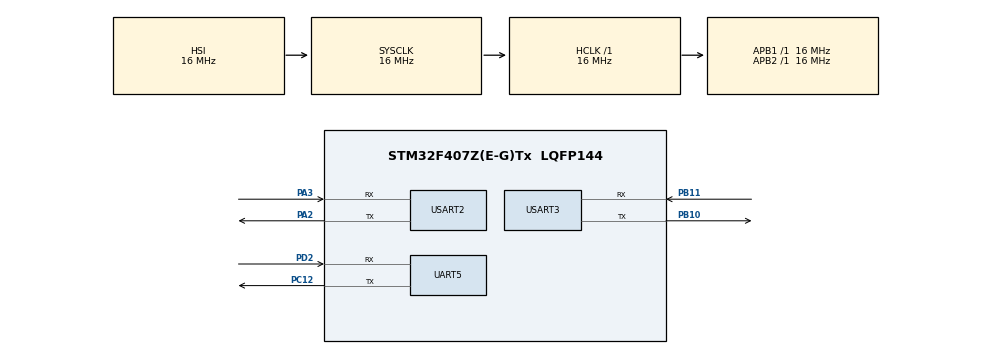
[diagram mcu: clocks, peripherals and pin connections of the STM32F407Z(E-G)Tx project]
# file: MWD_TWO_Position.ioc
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Mcu.Family=STM32F4
Mcu.Name=STM32F407Z(E-G)Tx
Mcu.Package=LQFP144
NVIC.PriorityGroup=NVIC_PRIORITYGROUP_4
NVIC.TIM6_DAC_IRQn=true\:0\:0\:false\:false\:true\:true\:true\:true
NVIC.UART5_IRQn=true\:2\:0\:true\:false\:true\:true\:true\:true
NVIC.USART2_IRQn=true\:0\:0\:true\:false\:true\:true\:true\:true
NVIC.USART3_IRQn=true\:0\:0\:true\:false\:true\:true\:true\:true
PA13.Mode=Serial_Wire
PA13.Signal=SYS_JTMS-SWDIO
PA14.Mode=Serial_Wire
PA14.Signal=SYS_JTCK-SWCLK
PA2.Mode=Asynchronous
PA2.Signal=USART2_TX
PA3.Mode=Asynchronous
PA3.Signal=USART2_RX
PB10.Mode=Asynchronous
PB10.Signal=USART3_TX
PB11.Mode=Asynchronous
PB11.Signal=USART3_RX
PC12.Mode=Asynchronous
PC12.Signal=UART5_TX
PD2.Mode=Asynchronous
PD2.Signal=UART5_RX
PH0-OSC_IN.Mode=HSE-External-Oscillator
PH0-OSC_IN.Signal=RCC_OSC_IN
PH1-OSC_OUT.Mode=HSE-External-Oscillator
PH1-OSC_OUT.Signal=RCC_OSC_OUT
ProjectManager.HeapSize=0x200
ProjectManager.StackSize=0x400
ProjectManager.TargetToolchain=MDK-ARM V5.32
RCC.AHBFreq_Value=16000000
RCC.APB1Freq_Value=16000000
RCC.APB2Freq_Value=16000000
RCC.CortexFreq_Value=16000000
RCC.HSE_VALUE=25000000
RCC.HSI_VALUE=16000000
RCC.LSE_VALUE=32768
RCC.SYSCLKFreq_VALUE=16000000
RCC.VCOOutputFreq_Value=192000000
TIM6.AutoReloadPreload=TIM_AUTORELOAD_PRELOAD_ENABLE
TIM6.Period=499
TIM6.Prescaler=15999
UART5.VirtualMode=Asynchronous
USART2.VirtualMode=VM_ASYNC
USART3.VirtualMode=VM_ASYNC
VP_TIM6_VS_ClockSourceINT.Mode=Enable_Timer
board=custom

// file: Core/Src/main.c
/* USER CODE BEGIN Header */
/**
  ******************************************************************************
  * @file           : main.c
  * @brief          : Main program body
  ******************************************************************************
  * @attention
  *
  * Copyright (c) 2026 STMicroelectronics.
  * All rights reserved.
  *
  * This software is licensed under terms that can be found in the LICENSE file
  * in the root directory of this software component.
  * If no LICENSE file comes with this software, it is provided AS-IS.
  *
  ******************************************************************************
  */
/* USER CODE END Header */
#include "main.h"
#include "tim.h"
#include "usart.h"
#include "gpio.h"
#include <stdio.h>
#include <string.h>  //
#include <math.h>
#include "stdlib.h"

/* USER CODE BEGIN PD */
/* 电机控制参数定义 */
#define MOTOR_ID_1 0x01  // 电机1 ID
#define MOTOR_ID_2 0x02  // 电机2 ID

/* 电机命令定义 */
#define CMD_MOTOR_RUN      0x88  // 电机运行命令
#define CMD_SINGLE_CIRCLE_POSITION_CONTROL 0xA5  // 单圈位置闭环控制命令
#define CMD_READ_SINGLE_CIRCLE_ANGLE 0x94  // 读取单圈角度命令
/* USER CODE END PD */

void SystemClock_Config(void);
/* USER CODE BEGIN PFP */
char debugBuffer[32] = {0};  // 用于存储待发送字符串
 char space = ' ';
volatile uint8_t needSend = 0;  // 发送标志
uint32_t lastInterruptTime = 0;
uint32_t interruptCount = 0;
// 串口5接收相关变量
/*uint8_t uart5RxBuffer[20];
uint8_t uart5RxIndex = 0;
uint8_t newDataAvailable = 0;
uint8_t rxData;  // 用于HAL_UART_Receive_IT*/
uint8_t uart5RxBuffer[6];  // 只需要6字节缓冲区
uint8_t newDataAvailable = 0;
/* 全局变量 - 用于存储电机角度（单位：0.01°） */
volatile uint16_t motor1_angle = 30;  // 10° * 100 = 1000
volatile uint16_t motor2_angle = 300;  // 10° * 100 = 1000
/* USER CODE END PFP */

/* USER CODE BEGIN 0 */

/* 发送电机命令函数 */
void sendMotorCommand(UART_HandleTypeDef *huart, uint8_t command, uint8_t id, uint8_t dataLength, uint8_t *data) {
    uint8_t frame[10]; // 最大帧长度
    uint8_t checksum = 0;

    // 帧头
    frame[0] = 0x3E;
    // 命令
    frame[1] = command;
    // ID
    frame[2] = id;
    // 数据长度
    frame[3] = dataLength;

    // 计算帧命令校验和
    for (int i = 0; i < 4; i++) {
        checksum += frame[i];
    }
    frame[4] = checksum & 0xFF;

    // 复制数据
    for (int i = 0; i < dataLength; i++) {
        frame[5 + i] = data[i];
    }

    // 计算帧数据校验和
    checksum = 0;
    for (int i = 0; i < dataLength; i++) {
        checksum += data[i];
    }
    if (dataLength > 0) {
        frame[5 + dataLength] = checksum & 0xFF;
    }

    // 发送帧
    HAL_UART_Transmit(huart, frame, 5 + dataLength + (dataLength > 0 ? 1 : 0), HAL_MAX_DELAY);
}

/* 设置单圈位置闭环控制（10°） */
void setSingleCirclePositionControl(UART_HandleTypeDef *huart, uint8_t id, uint16_t positionDegrees) {
    // 10° = 10 * 100 = 1000 LSB
    uint16_t positionLSB = positionDegrees * 100;

    // 位置控制数据
    uint8_t data[4];
    data[0] = 0x00; // 顺时针方向
    data[1] = positionLSB & 0xFF; // 低字节
    data[2] = (positionLSB >> 8) & 0xFF; // 高字节
    data[3] = 0x00; // NULL

    sendMotorCommand(huart, CMD_SINGLE_CIRCLE_POSITION_CONTROL, id, 4, data);
}

/* 电机上电自我校准（仅在上电时执行一次） */
void motorSelfCalibration() {
    // 电机1上电自我校准
    uint8_t runCommand1[5] = {0x3E, CMD_MOTOR_RUN, MOTOR_ID_1, 0x00, 0x00};
    uint8_t checksum1 = 0;
    for (int i = 0; i < 4; i++) {
        checksum1 += runCommand1[i];
    }
    runCommand1[4] = checksum1 & 0xFF;
    HAL_UART_Transmit(&huart2, runCommand1, 5, HAL_MAX_DELAY);

    // 等待电机1启动
    HAL_Delay(100);

    // 设置电机1默认位置为10°
    setSingleCirclePositionControl(&huart2, MOTOR_ID_1, 10);

    // 电机2上电自我校准
    uint8_t runCommand2[5] = {0x3E, CMD_MOTOR_RUN, MOTOR_ID_2, 0x00, 0x00};
    uint8_t checksum2 = 0;
    for (int i = 0; i < 4; i++) {
        checksum2 += runCommand2[i];
    }
    runCommand2[4] = checksum2 & 0xFF;
    HAL_UART_Transmit(&huart3, runCommand2, 5, HAL_MAX_DELAY);

    // 等待电机2启动
    HAL_Delay(100);

    // 设置电机2默认位置为10°
    setSingleCirclePositionControl(&huart3, MOTOR_ID_2, 10);
}

// 计算校验和（前n个字节）
uint8_t calculateChecksum(uint8_t *data, uint8_t length) {
    uint8_t sum = 0;
    for (int i = 0; i < length; i++) {
        sum += data[i];
    }
    return sum & 0xFF;
}

// 通过串口5打印字符串
void printToUART5(const char *str) {
    HAL_UART_Transmit(&huart5, (uint8_t*)str, strlen(str), 100);
}
//读取单圈角度
float readSingleCircleAngle(UART_HandleTypeDef *huart, uint8_t motorID) {
    uint8_t commandFrame[5] = {0x3E, 0x94, motorID, 0x00, 0x00};
    uint8_t responseFrame[10];
    uint32_t rawAngle = 0;
    float angle = -1.0f;

    // 计算校验和（前4字节）
    commandFrame[4] = 0;
    for(int i = 0; i < 4; i++) {
        commandFrame[4] += commandFrame[i];
    }

    // 发送命令
    HAL_UART_Transmit(huart, commandFrame, 5, 100);

    // 关键：100us以上延时（收发切换）
    for(volatile uint32_t i = 0; i < 200; i++) {  // ~200us延时
        __NOP();
        __NOP();
        __NOP();
    }

    // 接收响应（10字节）
    if(HAL_UART_Receive(huart, responseFrame, 10, 200) == HAL_OK) {
        // 直接解析角度：第5-8字节（小端格式）
        rawAngle = responseFrame[5] |
                  (responseFrame[6] << 8) |
                  (responseFrame[7] << 16) |
                  (responseFrame[8] << 24);

        angle = rawAngle / 100.0f;
    }

    return angle;
}

// 读取并打印电机角度
void processMotorReading(void) {
    float angle1, angle2;
    char buffer[100];

    // 读取电机1
    printToUART5("\r\n--- Reading Motor 1 ---\r\n");
    angle1 = readSingleCircleAngle(&huart2, MOTOR_ID_1);
    HAL_Delay(10);  // 电机响应间隔

    // 读取电机2
    printToUART5("\r\n--- Reading Motor 2 ---\r\n");
    angle2 = readSingleCircleAngle(&huart3, MOTOR_ID_2);

    // 格式化输出
    if (angle1 >= 0 && angle2 >= 0) {
        snprintf(buffer, sizeof(buffer), "\r\n=== SUCCESS ===\r\nMotor 1: %.2f°\r\nMotor 2: %.2f°\r\n", angle1, angle2);
    } else {
        snprintf(buffer, sizeof(buffer), "\r\n=== ERROR ===\r\nMotor 1: %.2f°\r\nMotor 2: %.2f°\r\n",
                 angle1 >= 0 ? angle1 : -1.0f,
                 angle2 >= 0 ? angle2 : -1.0f);
    }

    // 通过串口5输出
    printToUART5(buffer);
    printToUART5("\r\n=== Reading Complete ===\r\n");
}

/**
  * @brief  将电机角度映射到-1000~+1000范围并通过串口5发送
  * @param  huart1: USART1句柄（用于Motor1）
  * @param  huart2: USART2句柄（用于Motor2）
  * @retval None
  */
/*
void sendMappedMotorAngles(UART_HandleTypeDef *huart5) {
   float angle1 = -1.0f;
    float angle2 = -1.0f;
    int16_t mappedAngle1 = -2000;  // -2000表示读取失败
    int16_t mappedAngle2 = -2000;
    uint8_t sendData[6];

    // 1. 读取电机1
    angle1 = readSingleCircleAngle(&huart2, MOTOR_ID_1);

    // 2. 关键延时
    HAL_Delay(10);

    // 3. 读取电机2
    angle2 = readSingleCircleAngle(&huart3, MOTOR_ID_2);

    // 4. 映射Motor1: 300-360° & 0-40° -> -1000~+1000 (正常方向)
    if (angle1 >= 0) {
        if (angle1 >= 300.0f && angle1 <= 360.0f) {
            // 300-360° -> -1000~0 (300°=-1000, 360°=0)
            mappedAngle1 = (int16_t)((angle1 - 300.0f) * (-1000.0f / 60.0f));
        } else if (angle1 >= 0.0f && angle1 <= 40.0f) {
            // 0-40° -> 0~+1000 (0°=0, 40°=+1000)
            mappedAngle1 = (int16_t)(angle1 * (1000.0f / 40.0f));
        } else {
            // 超出有效范围，保持边界值
            if (angle1 < 300.0f) {
                mappedAngle1 = -1000;  // 小于300度，保持-1000
            } else {
                mappedAngle1 = 1000;   // 大于40度，保持+1000
            }
        }
    }

    // 5. 映射Motor2: 330-360° & 0-45° -> +1000~0 & 0~-1000 (反转方向) ??
    if (angle2 >= 0) {
        if (angle2 >= 330.0f && angle2 <= 360.0f) {
            // 330-360° -> +1000~0 (330°=+1000, 360°=0) ?? 方向反转
            mappedAngle2 = (int16_t)((angle2 - 330.0f) * (-1000.0f / 30.0f) + 1000.0f);
        } else if (angle2 >= 0.0f && angle2 <= 45.0f) {
            // 0-45° -> 0~-1000 (0°=0, 45°=-1000) ?? 方向反转
            mappedAngle2 = (int16_t)(angle2 * (-1000.0f / 45.0f));
        } else {
            // 超出有效范围，保持边界值（方向已反转）
            if (angle2 < 330.0f) {
                mappedAngle2 = 1000;   // 小于330度，保持+1000（反转后）
            } else {
                mappedAngle2 = -1000;  // 大于45度，保持-1000（反转后）
            }
        }
    }

    // 6. 构建发送数据包
    sendData[0] = 0x02;  // 起始符
    sendData[1] = (uint8_t)((mappedAngle1 >> 8) & 0xFF);  // M1高字节
    sendData[2] = (uint8_t)(mappedAngle1 & 0xFF);         // M1低字节
    sendData[3] = (uint8_t)((mappedAngle2 >> 8) & 0xFF);  // M2高字节
    sendData[4] = (uint8_t)(mappedAngle2 & 0xFF);         // M2低字节
    sendData[5] = 0x03;  // 结束符

    // 7. 通过串口5发送
    HAL_UART_Transmit(huart5, sendData, 6, 100);

 // 8. 调试输出
    char debug[250];
    snprintf(debug, sizeof(debug),
             "\r\n--- MAPPED DATA (Motor2 Direction Fixed) ---\r\n"
             "Motor1 (%.2f°): %d  [300-360°: -1000~0, 0-40°: 0~+1000]\r\n"
             "Motor2 (%.2f°): %d  [330-360°: +1000~0, 0-45°: 0~-1000] ?? FIXED\r\n"
             "TX: %02X %02X %02X %02X %02X %02X\r\n",
             angle1, mappedAngle1,
             angle2, mappedAngle2,
             sendData[0], sendData[1], sendData[2], sendData[3], sendData[4], sendData[5]);
    printToUART5(debug);

}
*/

void sendMappedMotorAngles(UART_HandleTypeDef *huart5) {
    float angle1 = -1.0f;
    float angle2 = -1.0f;
    int16_t mappedAngle1 = -2000;  // -2000表示读取失败
    int16_t mappedAngle2 = -2000;
    uint8_t sendData[6];

    // 1. 读取电机1
    angle1 = readSingleCircleAngle(&huart2, MOTOR_ID_1);

    // 2. 增加关键延时
    HAL_Delay(20);

    // 3. 读取电机2
    angle2 = readSingleCircleAngle(&huart3, MOTOR_ID_2);

    // 4. 映射Motor1: 300-360° & 0-40° -> -1000~+1000 (正常方向)
   /* if (angle1 >= 0) {
        if (angle1 >= 300.0f && angle1 <= 360.0f) {
            // 300-360° -> -1000~0 (300°=-1000, 360°=0)
            mappedAngle1 = (int16_t)((angle1 - 300.0f) * (-1000.0f / 60.0f));
        } else if (angle1 >= 0.0f && angle1 <= 40.0f) {
            // 0-40° -> 0~+1000 (0°=0, 40°=+1000)
            mappedAngle1 = (int16_t)(angle1 * (1000.0f / 40.0f));
        } else {
            // 超出有效范围，保持边界值
            if (angle1 < 300.0f) {
                mappedAngle1 = -1000;  // 小于300度，保持-1000
            } else {
                mappedAngle1 = 1000;   // 大于40度，保持+1000
            }
        }
    }*/
		if (angle1 >= 0) {
    if (angle1 >= 300.0f && angle1 <= 360.0f) {
        // 修正：300°=-1000, 360°=0
        mappedAngle1 = (int16_t)((angle1 - 360.0f) * (1000.0f / 60.0f));
        // 验证：300°=(300-360)×(1000/60)=-60×16.67=-1000
        //       360°=(360-360)×(1000/60)=0×16.67=0
    } else if (angle1 >= 0.0f && angle1 <= 40.0f) {
        //  0-40° -> 0~+1000 (0°=0, 40°=+1000)
        mappedAngle1 = (int16_t)(angle1 * (1000.0f / 40.0f));
    } else {
        // 超出有效范围，保持边界值
        if (angle1 < 300.0f) {
            mappedAngle1 = -1000;  // 小于300度，保持-1000
        } else {
            mappedAngle1 = 1000;   // 大于40度，保持+1000
        }
    }
}

    // 5. 映射Motor2: 330-360° & 0-45° -> +1000~0 & 0~-1000 (反转方向)
    if (angle2 >= 0) {
        if (angle2 >= 330.0f && angle2 <= 360.0f) {
            // 330-360° -> +1000~0 (330°=+1000, 360°=0) 方向反转
            mappedAngle2 = (int16_t)((angle2 - 330.0f) * (-1000.0f / 30.0f) + 1000.0f);
        } else if (angle2 >= 0.0f && angle2 <= 45.0f) {
            // 0-45° -> 0~-1000 (0°=0, 45°=-1000) 方向反转
            //mappedAngle2 = (int16_t)(angle2 * (-1000.0f / 45.0f));
						mappedAngle2=0;
        } else {
            // 超出有效范围，保持边界值
            if (angle2 < 330.0f) {
                mappedAngle2 = 1000;   // 小于330度，保持+1000
            } else {
                //mappedAngle2 = -1000;  // 大于45度，保持-1000
							mappedAngle2 = 0;
            }
        }
    }

    // 6. 构建发送数据包
    sendData[0] = 0x02;  // 起始符
    sendData[1] = (uint8_t)((mappedAngle1 >> 8) & 0xFF);  // M1高字节
    sendData[2] = (uint8_t)(mappedAngle1 & 0xFF);         // M1低字节
    sendData[3] = (uint8_t)((mappedAngle2 >> 8) & 0xFF);  // M2高字节
    sendData[4] = (uint8_t)(mappedAngle2 & 0xFF);         // M2低字节
    sendData[5] = 0x03;  // 结束符

	  /*char debugPacket[100];
    snprintf(debugPacket, sizeof(debugPacket),
             "\r\n=== TX PACKET ===\r\n"
             "Data: 02 %02X %02X %02X %02X 03\r\n"
             "M1 Value: %d (0x%04X)\r\n"
             "M2 Value: %d (0x%04X)\r\n",
             sendData[1], sendData[2], sendData[3], sendData[4],
             mappedAngle1, mappedAngle1 & 0xFFFF,
             mappedAngle2, mappedAngle2 & 0xFFFF);
    HAL_UART_Transmit(huart5, (uint8_t*)debugPacket, strlen(debugPacket), 100);*/

    // 7. 等待串口空闲
    while (HAL_UART_GetState(huart5) != HAL_UART_STATE_READY) {
        // 等待串口发送完成
    }

    // 8. 直接发送原始数据包（02 00 2E FC C0 03 格式）
    HAL_UART_Transmit(huart5, sendData, 6, 100);

    // 9. 增加总延时，确保稳定
    HAL_Delay(30);
}

/**
  * @brief  处理接收到的串口5数据，控制电机转动
  * @note   此函数应在主循环中调用，处理中断接收到的数据
  * @retval None
  */
/*void processReceivedMotorCommand(void) {
    if (!newDataAvailable) {
        return;
    }

    newDataAvailable = 0;

    uint8_t parsedData[6] = {0};
    uint8_t byteIndex = 0;
    uint8_t charIndex = 0;

    // 调试：显示接收到的原始数据
    char debugRaw[30];
    snprintf(debugRaw, sizeof(debugRaw), "RX: [%s]\r\n", uart5RxBuffer);
    HAL_UART_Transmit(&huart5, (uint8_t*)debugRaw, strlen(debugRaw), 100);

    // 解析十六进制数据
    while (byteIndex < 6 && charIndex < strlen((char*)uart5RxBuffer)) {
        // 跳过所有非十六进制字符
        while (charIndex < strlen((char*)uart5RxBuffer)) {
            char c = uart5RxBuffer[charIndex];
            if ((c >= '0' && c <= '9') || (c >= 'A' && c <= 'F') || (c >= 'a' && c <= 'f')) {
                break;
            }
            charIndex++;
        }

        if (charIndex >= strlen((char*)uart5RxBuffer) - 1) break;

        char c1 = uart5RxBuffer[charIndex];
        char c2 = uart5RxBuffer[charIndex + 1];

        // 安全的十六进制转换
        uint8_t highNibble = (c1 >= 'a') ? (c1 - 'a' + 10) :
                           (c1 >= 'A') ? (c1 - 'A' + 10) : (c1 - '0');
        uint8_t lowNibble = (c2 >= 'a') ? (c2 - 'a' + 10) :
                          (c2 >= 'A') ? (c2 - 'A' + 10) : (c2 - '0');

        parsedData[byteIndex++] = (highNibble << 4) | lowNibble;
        charIndex += 2;
    }

    // 显示解析结果
    char debugParse[50];
    snprintf(debugParse, sizeof(debugParse), "PARSED: ");
    HAL_UART_Transmit(&huart5, (uint8_t*)debugParse, strlen(debugParse), 100);

    for (int i = 0; i < 6; i++) {
        char byteStr[5];
        snprintf(byteStr, sizeof(byteStr), "%02X ", parsedData[i]);
        HAL_UART_Transmit(&huart5, (uint8_t*)byteStr, strlen(byteStr), 100);
    }
    HAL_UART_Transmit(&huart5, (uint8_t*)"\r\n", 2, 100);

    // 提取电机控制值
    int16_t mappedAngle1 = (int16_t)((parsedData[1] << 8) | parsedData[2]);
    int16_t mappedAngle2 = (int16_t)((parsedData[3] << 8) | parsedData[4]);

    // 反向映射Motor1
    float targetAngle1 = -1.0f;
    if (mappedAngle1 >= -1000 && mappedAngle1 <= 1000) {
        if (mappedAngle1 <= 0) {
            targetAngle1 = 300.0f + (mappedAngle1 * (60.0f / -1000.0f));
        } else {
            targetAngle1 = mappedAngle1 * (40.0f / 1000.0f);
        }
    }

    // 反向映射Motor2
    float targetAngle2 = -1.0f;
    if (mappedAngle2 >= -1000 && mappedAngle2 <= 1000) {
        if (mappedAngle2 >= 0) {
            targetAngle2 = 330.0f + ((1000.0f - mappedAngle2) * (30.0f / 1000.0f));
        } else {
            targetAngle2 = (0.0f - mappedAngle2) * (45.0f / 1000.0f);
        }
    }

    // 控制电机
    uint8_t motor1_success = 0;
    uint8_t motor2_success = 0;

    if (targetAngle1 >= 0) {
        setSingleCirclePositionControl(&huart2, MOTOR_ID_1, (uint16_t)targetAngle1);
        motor1_success = 1;
    }

    if (targetAngle2 >= 0) {
        setSingleCirclePositionControl(&huart3, MOTOR_ID_2, (uint16_t)targetAngle2);
        motor2_success = 1;
    }

    // 发送控制结果
    char result[60];
    snprintf(result, sizeof(result), "M1:%s(%.1f°) M2:%s(%.1f°)\r\n",
            motor1_success ? "OK" : "FAIL", targetAngle1,
            motor2_success ? "OK" : "FAIL", targetAngle2);
    HAL_UART_Transmit(&huart5, (uint8_t*)result, strlen(result), 100);
}*/
void processReceivedMotorCommand(void) {
    if (!newDataAvailable) {
        return;
    }

    newDataAvailable = 0;

    // 直接提取角度值 - 无任何校验
    int16_t mappedAngle1 = (int16_t)((uart5RxBuffer[1] << 8) | uart5RxBuffer[2]);
    int16_t mappedAngle2 = (int16_t)((uart5RxBuffer[3] << 8) | uart5RxBuffer[4]);

    // 反向映射Motor1 - 无范围检查
    float targetAngle1 = 300.0f + (mappedAngle1 * (60.0f / -1000.0f));
    if (mappedAngle1 > 0) {
        targetAngle1 = mappedAngle1 * (40.0f / 1000.0f);
    }

    // 反向映射Motor2 - 无范围检查
    float targetAngle2 = 330.0f + ((1000.0f - (float)mappedAngle2) * (30.0f / 1000.0f));
    if (mappedAngle2 < 0) {
        targetAngle2 = (0.0f - (float)mappedAngle2) * (45.0f / 1000.0f);
    }

    // 直接控制电机 - 无条件执行
    setSingleCirclePositionControl(&huart2, MOTOR_ID_1, (uint16_t)targetAngle1);
    setSingleCirclePositionControl(&huart3, MOTOR_ID_2, (uint16_t)targetAngle2);

    // 可选：发送确认（可以完全移除）
    char ack[40];
    snprintf(ack, sizeof(ack), "M1:%.1f° M2:%.1f°\r\n", targetAngle1, targetAngle2);
    HAL_UART_Transmit(&huart5, (uint8_t*)ack, strlen(ack), 100);
}

/* USER CODE END 0 */

int main(void)
{

  /* MCU Configuration--------------------------------------------------------*/

  /* Reset of all peripherals, Initializes the Flash interface and the Systick. */
  HAL_Init();

  /* Configure the system clock */
  SystemClock_Config();

  /* Initialize all configured peripherals */
  MX_GPIO_Init();
  HAL_NVIC_SetPriority(USART2_IRQn, 1, 0);  // 优先级1（比0低）
  HAL_NVIC_SetPriority(USART3_IRQn, 1, 0);  // 优先级1
  MX_USART2_UART_Init();
  MX_USART3_UART_Init();
	HAL_NVIC_SetPriority(TIM6_DAC_IRQn, 0, 0);  // 优先级0（最高）
  HAL_NVIC_EnableIRQ(TIM6_DAC_IRQn);
  MX_TIM6_Init();
  MX_UART5_Init();

 HAL_NVIC_SetPriority(UART5_IRQn, 2, 0);  // 设置UART5中断优先级
 HAL_NVIC_EnableIRQ(UART5_IRQn);          // 使能UART5中断

	HAL_TIM_Base_Start_IT(&htim6);  // 启动定时器中断
  /* USER CODE BEGIN 2 */

	  //  // ======== 串口5测试: 发送 "Hello World" ========
   //char hello[] = "Hello World from UART5!\r\n";
   //HAL_UART_Transmit(&huart5, (uint8_t*)hello, sizeof(hello)-1, HAL_MAX_DELAY);
    /* 电机上电自我校准 */
    motorSelfCalibration();
    HAL_Delay(100);

// 启用UART5接收中断 - 直接接收6字节
//	HAL_UART_Receive_IT(&huart5, uart5RxBuffer, 6);

char initMsg[] = "RAW CONTROL MODE\r\n";
HAL_UART_Transmit(&huart5, (uint8_t*)initMsg, strlen(initMsg), 100);

  /* USER CODE END 2 */

  /* Infinite loop */
  /* USER CODE BEGIN WHILE */
  while (1)
  {

    if (needSend) {
        needSend = 0;
     // 处理电机读取和打印
			sendMappedMotorAngles(&huart5);
     }

		 /* if (newDataAvailable) {
        newDataAvailable = 0;

        processReceivedMotorCommand(); // 处理接收到的UART5数据

        // 在主循环中重新启动接收
        if (HAL_UART_GetState(&huart5) == HAL_UART_STATE_READY) {
            HAL_UART_Receive_IT(&huart5, uart5RxBuffer, 6);
        }
    }*/

		//processReceivedMotorCommand();

    HAL_Delay(10);  // 主循环延时
  }
}

void SystemClock_Config(void)
{
  RCC_OscInitTypeDef RCC_OscInitStruct = {0};
  RCC_ClkInitTypeDef RCC_ClkInitStruct = {0};

  /** Configure the main internal regulator output voltage
  */
  __HAL_RCC_PWR_CLK_ENABLE();
  __HAL_PWR_VOLTAGESCALING_CONFIG(PWR_REGULATOR_VOLTAGE_SCALE1);

  /** Initializes the RCC Oscillators according to the specified parameters
  * in the RCC_OscInitTypeDef structure.
  */
  RCC_OscInitStruct.OscillatorType = RCC_OSCILLATORTYPE_HSI;
  RCC_OscInitStruct.HSIState = RCC_HSI_ON;
  RCC_OscInitStruct.HSICalibrationValue = RCC_HSICALIBRATION_DEFAULT;
  RCC_OscInitStruct.PLL.PLLState = RCC_PLL_NONE;
  if (HAL_RCC_OscConfig(&RCC_OscInitStruct) != HAL_OK)
  {
    Error_Handler();
  }

  /** Initializes the CPU, AHB and APB buses clocks
  */
  RCC_ClkInitStruct.ClockType = RCC_CLOCKTYPE_HCLK|RCC_CLOCKTYPE_SYSCLK
                              |RCC_CLOCKTYPE_PCLK1|RCC_CLOCKTYPE_PCLK2;
  RCC_ClkInitStruct.SYSCLKSource = RCC_SYSCLKSOURCE_HSI;
  RCC_ClkInitStruct.AHBCLKDivider = RCC_SYSCLK_DIV1;
  RCC_ClkInitStruct.APB1CLKDivider = RCC_HCLK_DIV1;
  RCC_ClkInitStruct.APB2CLKDivider = RCC_HCLK_DIV1;

  if (HAL_RCC_ClockConfig(&RCC_ClkInitStruct, FLASH_LATENCY_0) != HAL_OK)
  {
    Error_Handler();
  }
}

void Error_Handler(void)
{
  __disable_irq();
  while (1)
  {
  }
}

void HAL_TIM_PeriodElapsedCallback(TIM_HandleTypeDef *htim)
{
    if (htim->Instance == TIM6) {
			// readAndPrintMotorAngles();

        needSend = 1;  // 设置标志，主循环会检测
        // 可选：调试用，确认中断是否触发
        // char debug[] = "TIM6 INT\r\n";
        //HAL_UART_Transmit(&huart5, (uint8_t*)debug, strlen(debug), 10);
    }
}

// 串口接收中断回调函数
/*void HAL_UART_RxCpltCallback(UART_HandleTypeDef *huart) {
    if (huart->Instance == UART5) {  // 确保使用正确的串口实例
        uint8_t receivedChar = *(huart->pRxBuffPtr);  // 获取接收到的字符

        if (uart5RxIndex < sizeof(uart5RxBuffer) - 1) {
            uart5RxBuffer[uart5RxIndex++] = receivedChar;

            // 检测到行结束符或缓冲区满
            if (receivedChar == '\n' || receivedChar == '\r' || uart5RxIndex >= 18) {
                uart5RxBuffer[uart5RxIndex] = '\0';  // 确保字符串结束
                newDataAvailable = 1;
                uart5RxIndex = 0;
            }
        } else {
            // 缓冲区满，重置
            uart5RxIndex = 0;
        }

        // 重新启动中断接收
        uint8_t dummy;
        HAL_UART_Receive_IT(huart, &dummy, 1);
    }
}*/
// 串口中断回调函数 - 最简版本
void HAL_UART_RxCpltCallback(UART_HandleTypeDef *huart) {
    if (huart->Instance == UART5) {
        newDataAvailable = 1;  // 标记新数据可用

        // 重新启动接收
      //  HAL_UART_Receive_IT(&huart5, uart5RxBuffer, 6);
    }
}
